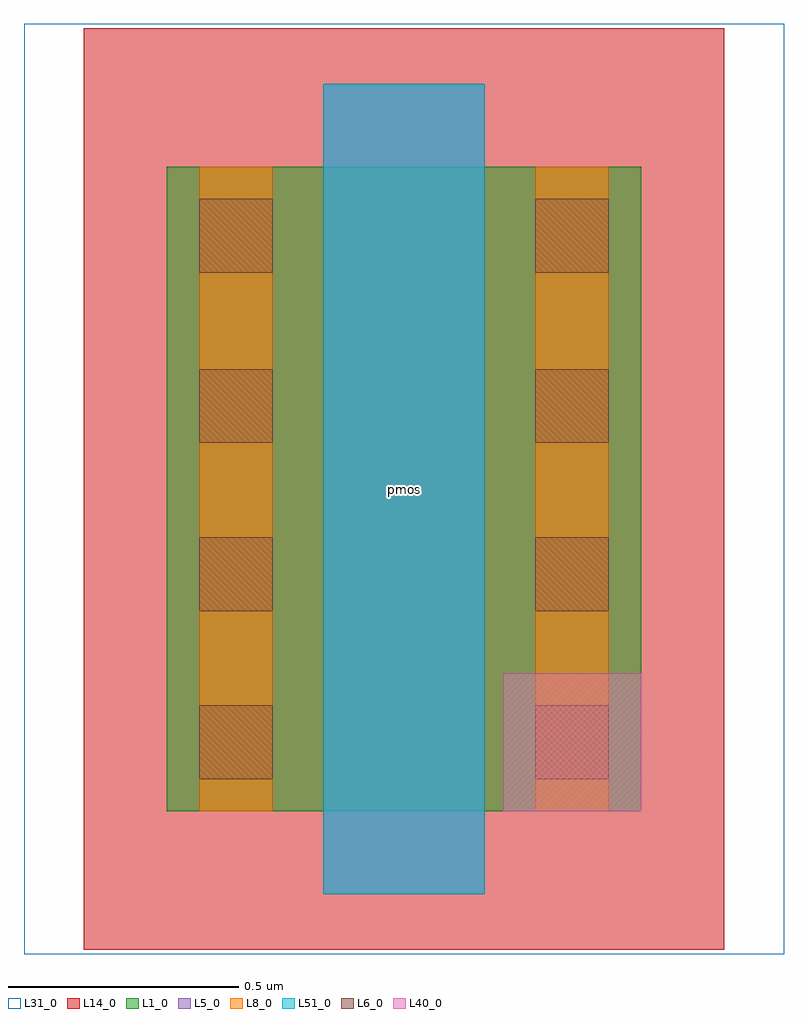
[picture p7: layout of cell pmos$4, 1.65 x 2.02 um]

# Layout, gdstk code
import gdstk
lib = gdstk.Library(unit=1e-6, precision=1e-09)
def R(c, l, rs):  # rectangles x0, y0, x1, y1
    for r in rs: c.add(gdstk.rectangle(r[:2], r[2:], *l))
def A(c, l, x, y, w, h, nx, ny, dx, dy):  # array of equal rectangles
    R(c, l, [(x+i*dx, y+j*dy, x+i*dx+w, y+j*dy+h) for i in range(nx) for j in range(ny)])
L1_0 = (1, 0)
L5_0 = (5, 0)
L6_0 = (6, 0)
L8_0 = (8, 0)
L14_0 = (14, 0)
L31_0 = (31, 0)
L40_0 = (40, 0)
L51_0 = (51, 0)

pmos_4 = lib.new_cell('pmos$4')
R(pmos_4, L1_0, [(0,0,0.3,0.3), (0,0,1.03,1.4), (0.73,0,1.03,0.3)])
R(pmos_4, L5_0, [(0.34,-0.18,0.69,1.58), (0.34,-0.18,0.69,1.58)])
A(pmos_4, L6_0, 0.07, 0.07, 0.16, 0.16, 1, 3, 0, 0.365)
A(pmos_4, L6_0, 0.8, 0.07, 0.16, 0.16, 1, 3, 0, 0.365)
R(pmos_4, L6_0, [(0.07,1.17,0.23,1.33), (0.8,1.17,0.96,1.33)])
R(pmos_4, L8_0, [(0.07,0,0.23,1.4), (0.07,0,0.23,1.4), (0.8,0,0.96,1.4), (0.8,0,0.96,1.4)])
R(pmos_4, L14_0, [(-0.18,-0.3,1.21,1.7)])
R(pmos_4, L31_0, [(-0.31,-0.31,1.34,1.71)])
R(pmos_4, L40_0, [(0.73,0,1.03,0.3)])
R(pmos_4, L51_0, [(0.34,-0.18,0.69,1.58)])
pmos_4.add(gdstk.Label('pmos', (0.515,0.7), layer=63, texttype=0))
pmos_4.add(gdstk.Label('pmos', (0.515,0.7), layer=51, texttype=0))

lib.write_gds('pmos_4.gds')
